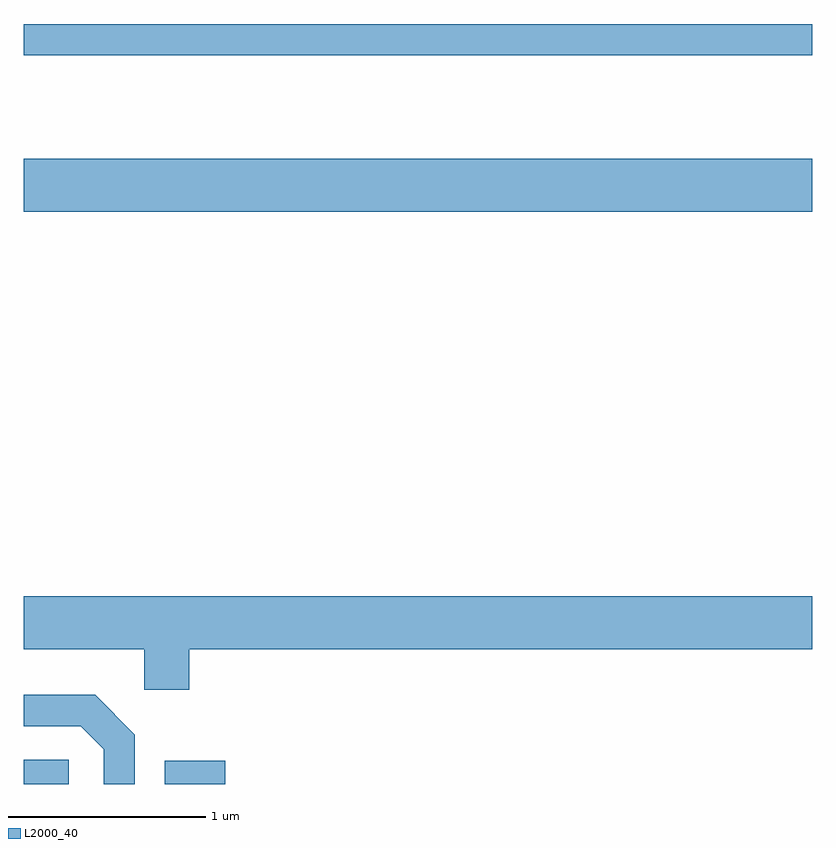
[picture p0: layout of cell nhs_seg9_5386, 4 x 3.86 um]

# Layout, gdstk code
import gdstk
lib = gdstk.Library(unit=1e-6, precision=1e-09)
def R(c, l, rs):  # rectangles x0, y0, x1, y1
    for r in rs: c.add(gdstk.rectangle(r[:2], r[2:], *l))
def P(c, l, *ps):  # polygons
    for p in ps: c.add(gdstk.Polygon(p, *l))
L2000_40 = (2000, 40)

nhs_seg9_5386 = lib.new_cell('nhs_seg9_5386')
R(nhs_seg9_5386, L2000_40, [(343.611,2024.432,343.839,2024.554), (344.326,2024.432,344.634,2024.549), (343.611,2027.336,347.611,2027.604), (343.611,2028.131,347.611,2028.289)])
P(nhs_seg9_5386, L2000_40, [(344.449,2025.116),(347.611,2025.116),(347.611,2025.384),(343.611,2025.384),(343.611,2025.116),(344.221,2025.116),(344.221,2024.911),(344.449,2024.911)],
  [(344.174,2024.682),(343.972,2024.884),(343.611,2024.884),(343.611,2024.726),(343.899,2024.726),(344.016,2024.609),(344.016,2024.432),(344.174,2024.432)])

lib.write_gds('nhs_seg9_5386.gds')
